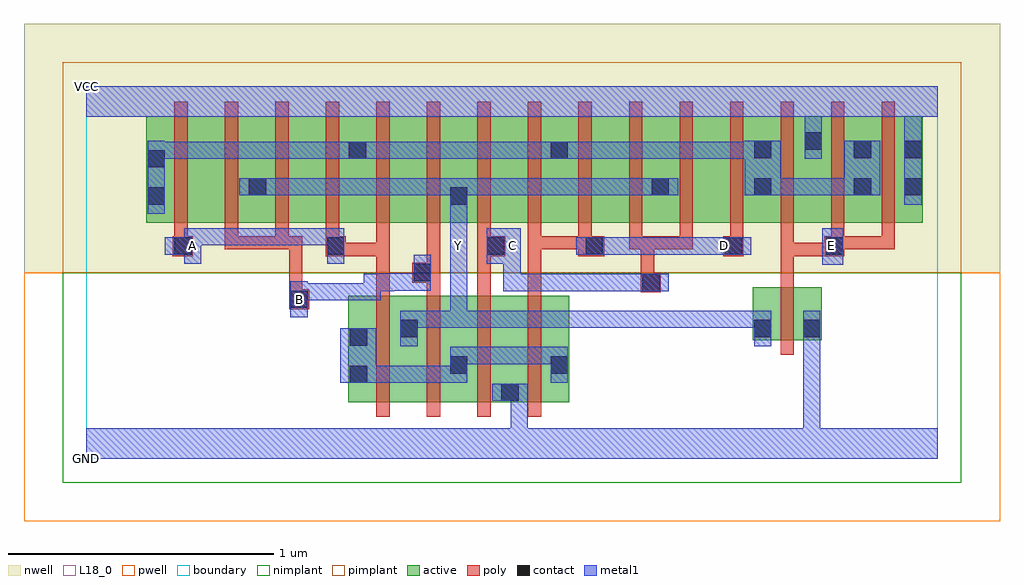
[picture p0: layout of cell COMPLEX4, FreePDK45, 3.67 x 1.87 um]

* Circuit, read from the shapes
.subckt COMPLEX4 A B C D E GND VCC Y
M1 Y A n1 VSUBS nfet w=0.4u l=0.05u
M2 n1 B Y VSUBS nfet w=0.4u l=0.05u
M3 GND C n1 VSUBS nfet w=0.4u l=0.05u
M4 n1 D GND VSUBS nfet w=0.4u l=0.05u
M5 GND E Y VSUBS nfet w=0.2u l=0.05u
M6 n2 A n3 n4 pfet w=0.4u l=0.05u
M7 Y B n2 n4 pfet w=0.4u l=0.05u
M8 n5 B Y n4 pfet w=0.4u l=0.05u
M9 n3 A n5 n4 pfet w=0.4u l=0.05u
M10 n6 A n3 n4 pfet w=0.4u l=0.05u
M11 Y B n6 n4 pfet w=0.4u l=0.05u
M12 n7 C Y n4 pfet w=0.4u l=0.05u
M13 n3 D n7 n4 pfet w=0.4u l=0.05u
M14 n8 D n3 n4 pfet w=0.4u l=0.05u
M15 Y C n8 n4 pfet w=0.4u l=0.05u
M16 n9 C Y n4 pfet w=0.4u l=0.05u
M17 n3 D n9 n4 pfet w=0.4u l=0.05u
M18 VCC E n3 n4 pfet w=0.4u l=0.05u m=3
.ends

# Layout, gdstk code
import gdstk
lib = gdstk.Library(unit=1e-6, precision=1e-09)
def R(c, l, rs):  # rectangles x0, y0, x1, y1
    for r in rs: c.add(gdstk.rectangle(r[:2], r[2:], *l))
def A(c, l, x, y, w, h, nx, ny, dx, dy):  # array of equal rectangles
    R(c, l, [(x+i*dx, y+j*dy, x+i*dx+w, y+j*dy+h) for i in range(nx) for j in range(ny)])
active = (1, 0)
pwell = (2, 0)
nwell = (3, 0)
nimplant = (4, 0)
pimplant = (5, 0)
poly = (9, 0)
contact = (10, 0)
metal1 = (11, 0)
L18_0 = (18, 0)
boundary = (235, 0)

complex4 = lib.new_cell('COMPLEX4')
R(complex4, active, [(0.985,0.212,1.25,0.612), (1.175,0.212,1.437,0.612), (1.362,0.212,1.63,0.612), (1.555,0.212,1.815,0.612), (1.555,0.212,1.63,0.447), (0.985,0.245,1.06,0.612), (1.175,0.245,1.25,0.527), (1.362,0.245,1.437,0.492), (1.74,0.245,1.815,0.492), (2.505,0.445,2.58,0.645), (2.505,0.445,2.765,0.645), (2.69,0.445,2.765,0.645), (0.225,0.887,0.3,1.2), (0.225,0.887,0.45,1.287), (0.45,0.887,0.68,1.287), (0.605,0.887,0.83,1.287), (0.83,0.887,1.057,1.287), (0.982,0.887,1.21,1.287), (1.21,0.887,1.437,1.287), (1.362,0.887,1.59,1.287), (1.59,0.887,1.815,1.287), (1.74,0.887,1.97,1.287), (1.97,0.887,2.195,1.287), (2.12,0.887,2.35,1.287), (2.35,0.887,2.58,1.287), (2.505,0.887,2.77,1.287), (2.695,0.887,2.955,1.287), (2.88,0.887,3.145,1.287), (3.07,0.887,3.145,1.2), (0.605,0.907,0.68,1.07), (0.982,0.907,1.057,1.2), (1.362,0.907,1.437,1.07), (1.74,0.907,1.815,1.2), (2.12,0.907,2.195,1.07), (2.505,0.907,2.58,1.2), (2.695,0.907,2.77,1.232), (2.88,0.907,2.955,1.2)])
R(complex4, pwell, [(-0.235,-0.235,3.435,0.7)])
R(complex4, nwell, [(-0.235,0.7,3.435,1.635)])
R(complex4, nimplant, [(-0.09,-0.09,3.29,0.7)])
R(complex4, pimplant, [(-0.09,0.7,3.29,1.49)])
A(complex4, poly, 1.09, 0.157, 0.05, 0.51, 4, 1, 0.19, 0)
A(complex4, poly, 0.33, 0.787, 0.05, 0.095, 4, 1, 0.19, 0)
A(complex4, poly, 0.52, 0.787, 0.24, 0.05, 3, 1, 1.14, 0)
A(complex4, poly, 1.47, 0.787, 0.05, 0.095, 6, 1, 0.19, 0)
A(complex4, poly, 0.33, 0.832, 0.05, 0.51, 15, 1, 0.19, 0)
R(complex4, poly, [(2.61,0.39,2.66,0.7), (0.762,0.562,0.837,0.637), (0.762,0.587,0.812,0.837), (1.09,0.617,1.14,0.812), (1.28,0.617,1.33,0.712), (1.47,0.617,1.52,0.812), (1.66,0.617,1.71,0.837), (2.085,0.625,2.16,0.7), (2.085,0.65,2.135,0.837), (2.61,0.65,2.66,0.812), (1.225,0.662,1.33,0.737), (1.28,0.687,1.33,0.737), (1.28,0.687,1.33,0.737), (1.28,0.687,1.33,0.882), (0.325,0.762,0.4,0.837), (0.9,0.762,0.975,0.837), (0.925,0.762,1.14,0.812), (1.09,0.762,1.14,0.812), (1.09,0.762,1.14,0.812), (1.09,0.762,1.14,0.812), (1.09,0.762,1.14,0.812), (1.09,0.762,1.14,0.812), (1.09,0.762,1.14,0.882), (1.47,0.762,1.575,0.837), (1.85,0.762,1.947,0.837), (2.395,0.762,2.47,0.837), (2.61,0.762,2.66,0.812), (2.61,0.762,2.66,0.812), (2.61,0.762,2.66,0.812), (2.61,0.762,2.825,0.812), (2.61,0.762,2.66,0.882), (2.775,0.762,2.825,0.812), (2.775,0.762,2.825,0.812), (2.775,0.762,2.85,0.837), (0.52,0.787,0.57,0.837), (0.71,0.787,0.76,0.837), (0.71,0.787,0.76,0.837), (0.71,0.787,0.812,0.837), (1.47,0.787,1.52,0.837), (1.47,0.787,1.52,0.837), (1.66,0.787,1.71,0.837), (1.66,0.787,1.71,0.837), (1.66,0.787,1.71,0.837), (1.85,0.787,1.9,0.837), (1.85,0.787,1.9,0.837), (2.04,0.787,2.135,0.837), (2.085,0.787,2.28,0.837), (2.23,0.787,2.28,0.837), (2.23,0.787,2.28,0.837), (2.23,0.787,2.28,0.837), (2.8,0.787,2.85,0.882), (2.99,0.787,3.04,0.882), (2.99,0.787,3.04,0.837), (2.99,0.787,3.04,0.837), (2.99,0.787,3.04,0.837)])
R(complex4, contact, [(1.56,0.217,1.625,0.282), (0.99,0.285,1.055,0.35), (1.367,0.32,1.432,0.385), (1.745,0.32,1.81,0.385), (0.99,0.425,1.055,0.49), (1.18,0.457,1.245,0.522), (2.51,0.457,2.575,0.522), (2.695,0.457,2.76,0.522), (0.767,0.567,0.832,0.632), (2.09,0.63,2.155,0.695), (1.23,0.667,1.295,0.732), (0.33,0.767,0.395,0.832), (0.905,0.767,0.97,0.832), (1.505,0.767,1.57,0.832), (1.877,0.767,1.942,0.832), (2.4,0.767,2.465,0.832), (2.78,0.767,2.845,0.832), (0.23,0.955,0.295,1.02), (1.367,0.955,1.432,1.02), (0.61,0.99,0.675,1.055), (2.125,0.99,2.19,1.055), (2.51,0.99,2.575,1.055), (2.885,0.99,2.95,1.055), (3.075,0.99,3.14,1.055), (0.23,1.095,0.295,1.16), (0.987,1.127,1.052,1.192), (1.745,1.127,1.81,1.192), (2.51,1.13,2.575,1.195), (2.885,1.13,2.95,1.195), (3.075,1.13,3.14,1.195), (2.7,1.162,2.765,1.227)])
R(complex4, metal1, [(0,0,3.2,0.115), (1.595,0.05,1.66,0.282), (2.695,0.05,2.76,0.487), (1.525,0.217,1.66,0.282), (0.955,0.285,1.09,0.49), (1.025,0.285,1.157,0.35), (1.092,0.285,1.157,0.35), (1.092,0.285,1.295,0.35), (1.23,0.285,1.295,0.35), (1.23,0.285,1.432,0.35), (1.367,0.285,1.432,0.35), (1.367,0.285,1.432,0.35), (1.367,0.285,1.432,0.42), (1.745,0.285,1.81,0.42), (1.367,0.355,1.57,0.42), (1.505,0.355,1.57,0.42), (1.505,0.355,1.57,0.42), (1.505,0.355,1.57,0.42), (1.505,0.355,1.77,0.42), (1.705,0.355,1.77,0.42), (1.705,0.355,1.81,0.42), (1.18,0.422,1.245,0.557), (2.51,0.422,2.575,0.557), (2.695,0.422,2.76,0.487), (2.695,0.422,2.76,0.487), (2.695,0.422,2.76,0.487), (2.695,0.422,2.76,0.487), (2.695,0.422,2.76,0.557), (1.18,0.492,1.432,0.557), (1.367,0.492,1.432,0.557), (1.367,0.492,1.432,0.557), (1.367,0.492,1.432,0.557), (1.367,0.492,1.57,0.557), (1.367,0.492,1.432,0.797), (1.505,0.492,1.57,0.557), (1.505,0.492,1.57,0.557), (1.505,0.492,1.57,0.557), (1.505,0.492,1.77,0.557), (1.705,0.492,1.77,0.557), (1.705,0.492,1.77,0.557), (1.705,0.492,1.77,0.557), (1.705,0.492,1.982,0.557), (1.917,0.492,1.982,0.557), (1.917,0.492,1.982,0.557), (1.917,0.492,1.982,0.557), (1.917,0.492,2.12,0.557), (2.055,0.492,2.12,0.557), (2.055,0.492,2.12,0.557), (2.055,0.492,2.12,0.557), (2.055,0.492,2.26,0.557), (2.195,0.492,2.26,0.557), (2.195,0.492,2.26,0.557), (2.195,0.492,2.26,0.557), (2.195,0.492,2.557,0.557), (2.492,0.492,2.557,0.557), (2.492,0.492,2.575,0.557), (0.767,0.532,0.832,0.667), (0.767,0.595,0.847,0.66), (0.782,0.595,0.847,0.66), (0.782,0.595,1.02,0.66), (0.955,0.595,1.02,0.66), (0.955,0.595,1.107,0.66), (1.042,0.595,1.107,0.695), (1.042,0.63,1.157,0.695), (1.092,0.63,1.157,0.697), (1.567,0.63,1.77,0.695), (1.567,0.63,1.632,0.797), (1.705,0.63,1.77,0.695), (1.705,0.63,1.845,0.695), (1.78,0.63,1.845,0.695), (1.78,0.63,1.982,0.695), (1.917,0.63,1.982,0.695), (1.917,0.63,1.982,0.695), (1.917,0.63,1.982,0.695), (1.917,0.63,2.12,0.695), (2.055,0.63,2.19,0.695), (1.092,0.632,1.295,0.697), (1.23,0.632,1.295,0.697), (1.23,0.632,1.295,0.697), (1.23,0.632,1.295,0.767), (2.767,0.73,2.845,0.867), (0.367,0.732,0.432,0.867), (0.905,0.732,0.97,0.867), (1.367,0.732,1.432,0.867), (1.505,0.732,1.632,0.867), (1.567,0.732,1.632,0.797), (0.295,0.767,0.43,0.832), (0.365,0.767,0.432,0.832), (1.842,0.767,1.977,0.832), (1.912,0.767,1.982,0.832), (1.917,0.767,1.982,0.832), (1.917,0.767,2.12,0.832), (2.055,0.767,2.12,0.832), (2.055,0.767,2.12,0.832), (2.055,0.767,2.12,0.832), (2.055,0.767,2.26,0.832), (2.195,0.767,2.26,0.832), (2.195,0.767,2.397,0.832), (2.332,0.767,2.397,0.832), (2.332,0.767,2.397,0.832), (2.332,0.767,2.5,0.832), (0.367,0.802,0.57,0.867), (0.505,0.802,0.57,0.867), (0.505,0.802,0.57,0.867), (0.505,0.802,0.57,0.867), (0.505,0.802,0.71,0.867), (0.645,0.802,0.71,0.867), (0.645,0.802,0.88,0.867), (0.815,0.802,0.88,0.867), (0.815,0.802,0.97,0.867), (1.367,0.802,1.432,0.985), (0.23,0.92,0.295,1.195), (1.367,0.92,1.432,0.985), (1.367,0.92,1.432,0.985), (1.367,0.92,1.432,1.055), (3.075,0.955,3.14,1.23), (0.575,0.99,0.71,1.055), (0.645,0.99,0.71,1.055), (0.645,0.99,0.71,1.055), (0.645,0.99,0.88,1.055), (0.815,0.99,0.88,1.055), (0.815,0.99,1.02,1.055), (0.955,0.99,1.02,1.055), (0.955,0.99,1.02,1.055), (0.955,0.99,1.02,1.055), (0.955,0.99,1.157,1.055), (1.092,0.99,1.157,1.055), (1.092,0.99,1.295,1.055), (1.23,0.99,1.295,1.055), (1.23,0.99,1.432,1.055), (1.367,0.99,1.432,1.055), (1.367,0.99,1.432,1.055), (1.367,0.99,1.57,1.055), (1.505,0.99,1.57,1.055), (1.505,0.99,1.632,1.055), (1.567,0.99,1.632,1.055), (1.567,0.99,1.77,1.055), (1.705,0.99,1.77,1.055), (1.705,0.99,1.77,1.055), (1.705,0.99,1.77,1.055), (1.705,0.99,1.982,1.055), (1.917,0.99,1.982,1.055), (1.917,0.99,1.982,1.055), (1.917,0.99,1.982,1.055), (1.917,0.99,2.12,1.055), (2.055,0.99,2.12,1.055), (2.055,0.99,2.155,1.055), (2.09,0.99,2.225,1.055), (2.475,0.99,2.61,1.195), (2.545,0.99,2.695,1.055), (2.63,0.99,2.695,1.055), (2.63,0.99,2.777,1.055), (2.712,0.99,2.777,1.055), (2.712,0.99,2.915,1.055), (2.85,0.99,2.915,1.055), (2.85,0.99,2.915,1.055), (2.85,0.99,2.985,1.195), (0.23,1.127,0.295,1.192), (0.23,1.127,0.295,1.192), (0.23,1.127,0.432,1.192), (0.367,1.127,0.432,1.192), (0.367,1.127,0.432,1.192), (0.367,1.127,0.432,1.192), (0.367,1.127,0.572,1.192), (0.507,1.127,0.572,1.192), (0.507,1.127,0.572,1.192), (0.507,1.127,0.572,1.192), (0.507,1.127,0.832,1.192), (0.767,1.127,0.832,1.192), (0.767,1.127,0.847,1.192), (0.782,1.127,0.847,1.192), (0.782,1.127,1.017,1.192), (0.952,1.127,1.017,1.192), (0.952,1.127,1.017,1.192), (0.952,1.127,1.087,1.192), (1.022,1.127,1.157,1.192), (1.092,1.127,1.157,1.192), (1.092,1.127,1.295,1.192), (1.23,1.127,1.295,1.192), (1.23,1.127,1.432,1.192), (1.367,1.127,1.432,1.192), (1.367,1.127,1.432,1.192), (1.367,1.127,1.432,1.192), (1.367,1.127,1.57,1.192), (1.505,1.127,1.57,1.192), (1.505,1.127,1.57,1.192), (1.505,1.127,1.57,1.192), (1.505,1.127,1.77,1.192), (1.705,1.127,1.77,1.192), (1.705,1.127,1.775,1.192), (1.71,1.127,1.845,1.192), (1.78,1.127,1.982,1.192), (1.917,1.127,1.982,1.192), (1.917,1.127,1.982,1.192), (1.917,1.127,1.982,1.192), (1.917,1.127,2.12,1.192), (2.055,1.127,2.12,1.192), (2.055,1.127,2.12,1.192), (2.055,1.127,2.12,1.192), (2.055,1.127,2.257,1.192), (2.192,1.127,2.257,1.192), (2.192,1.127,2.402,1.192), (2.337,1.127,2.402,1.192), (2.337,1.127,2.402,1.192), (2.337,1.127,2.402,1.192), (2.337,1.127,2.54,1.192), (2.475,1.127,2.54,1.192), (2.475,1.127,2.54,1.192), (2.7,1.127,2.765,1.262), (3.075,1.165,3.14,1.35), (2.7,1.197,2.765,1.35), (0,1.285,3.2,1.4)])
R(complex4, L18_0, [(0,0,3.2,0.115), (1.595,0.05,1.66,0.282), (2.695,0.05,2.76,0.487), (1.525,0.217,1.66,0.282), (1.18,0.422,1.245,0.557), (2.51,0.422,2.575,0.557), (2.695,0.422,2.76,0.557), (2.695,0.422,2.76,0.487), (2.695,0.422,2.76,0.487), (2.695,0.422,2.76,0.487), (2.695,0.422,2.76,0.487), (1.18,0.492,1.432,0.557), (1.367,0.492,1.432,0.557), (1.367,0.492,1.432,0.557), (1.367,0.492,1.432,0.557), (1.367,0.492,1.57,0.557), (1.367,0.492,1.432,0.797), (1.505,0.492,1.57,0.557), (1.505,0.492,1.57,0.557), (1.505,0.492,1.57,0.557), (1.505,0.492,1.77,0.557), (1.705,0.492,1.77,0.557), (1.705,0.492,1.77,0.557), (1.705,0.492,1.77,0.557), (1.705,0.492,1.982,0.557), (1.917,0.492,1.982,0.557), (1.917,0.492,1.982,0.557), (1.917,0.492,1.982,0.557), (1.917,0.492,2.12,0.557), (2.055,0.492,2.12,0.557), (2.055,0.492,2.12,0.557), (2.055,0.492,2.12,0.557), (2.055,0.492,2.26,0.557), (2.195,0.492,2.26,0.557), (2.195,0.492,2.26,0.557), (2.195,0.492,2.26,0.557), (2.195,0.492,2.557,0.557), (2.492,0.492,2.557,0.557), (2.492,0.492,2.575,0.557), (0.767,0.532,0.832,0.667), (0.767,0.567,0.832,0.632), (0.767,0.595,0.847,0.66), (0.782,0.595,0.847,0.66), (0.782,0.595,1.02,0.66), (0.955,0.595,1.02,0.66), (0.955,0.595,1.107,0.66), (1.042,0.595,1.107,0.695), (1.042,0.63,1.157,0.695), (1.092,0.63,1.157,0.697), (1.567,0.63,1.77,0.695), (1.567,0.63,1.632,0.797), (1.705,0.63,1.77,0.695), (1.705,0.63,1.845,0.695), (1.78,0.63,1.845,0.695), (1.78,0.63,1.982,0.695), (1.917,0.63,1.982,0.695), (1.917,0.63,1.982,0.695), (1.917,0.63,1.982,0.695), (1.917,0.63,2.12,0.695), (2.055,0.63,2.19,0.695), (1.092,0.632,1.295,0.697), (1.23,0.632,1.295,0.767), (1.23,0.632,1.295,0.697), (1.23,0.632,1.295,0.697), (2.767,0.73,2.845,0.867), (0.367,0.732,0.432,0.867), (0.905,0.732,0.97,0.867), (1.367,0.732,1.432,0.867), (1.505,0.732,1.632,0.867), (1.567,0.732,1.632,0.797), (0.295,0.767,0.43,0.832), (0.365,0.767,0.432,0.832), (0.367,0.767,0.432,0.832), (1.367,0.767,1.432,0.832), (1.567,0.767,1.632,0.832), (1.842,0.767,1.977,0.832), (1.912,0.767,1.982,0.832), (1.917,0.767,1.982,0.832), (1.917,0.767,2.12,0.832), (2.055,0.767,2.12,0.832), (2.055,0.767,2.12,0.832), (2.055,0.767,2.12,0.832), (2.055,0.767,2.26,0.832), (2.195,0.767,2.26,0.832), (2.195,0.767,2.397,0.832), (2.332,0.767,2.397,0.832), (2.332,0.767,2.397,0.832), (2.332,0.767,2.5,0.832), (2.367,0.767,2.432,0.832), (2.767,0.767,2.832,0.832), (0.367,0.802,0.57,0.867), (0.505,0.802,0.57,0.867), (0.505,0.802,0.57,0.867), (0.505,0.802,0.57,0.867), (0.505,0.802,0.71,0.867), (0.645,0.802,0.71,0.867), (0.645,0.802,0.88,0.867), (0.815,0.802,0.88,0.867), (0.815,0.802,0.97,0.867), (1.367,0.802,1.432,0.985), (1.367,0.92,1.432,1.055), (1.367,0.92,1.432,0.985), (1.367,0.92,1.432,0.985), (3.075,0.955,3.14,1.23), (0.575,0.99,0.71,1.055), (0.645,0.99,0.71,1.055), (0.645,0.99,0.71,1.055), (0.645,0.99,0.88,1.055), (0.815,0.99,0.88,1.055), (0.815,0.99,1.02,1.055), (0.955,0.99,1.02,1.055), (0.955,0.99,1.02,1.055), (0.955,0.99,1.02,1.055), (0.955,0.99,1.157,1.055), (1.092,0.99,1.157,1.055), (1.092,0.99,1.295,1.055), (1.23,0.99,1.295,1.055), (1.23,0.99,1.432,1.055), (1.367,0.99,1.432,1.055), (1.367,0.99,1.432,1.055), (1.367,0.99,1.57,1.055), (1.505,0.99,1.57,1.055), (1.505,0.99,1.632,1.055), (1.567,0.99,1.632,1.055), (1.567,0.99,1.77,1.055), (1.705,0.99,1.77,1.055), (1.705,0.99,1.77,1.055), (1.705,0.99,1.77,1.055), (1.705,0.99,1.982,1.055), (1.917,0.99,1.982,1.055), (1.917,0.99,1.982,1.055), (1.917,0.99,1.982,1.055), (1.917,0.99,2.12,1.055), (2.055,0.99,2.12,1.055), (2.055,0.99,2.155,1.055), (2.09,0.99,2.225,1.055), (2.7,1.127,2.765,1.262), (3.075,1.165,3.14,1.35), (2.7,1.197,2.765,1.35), (0,1.285,3.2,1.4)])
R(complex4, boundary, [(0,0,3.2,1.4)])
complex4.add(gdstk.Label('A', (0.4,0.8), layer=11, texttype=0))
complex4.add(gdstk.Label('B', (0.8,0.6), layer=11, texttype=0))
complex4.add(gdstk.Label('C', (1.6,0.8), layer=11, texttype=0))
complex4.add(gdstk.Label('D', (2.4,0.8), layer=11, texttype=0))
complex4.add(gdstk.Label('E', (2.8,0.8), layer=11, texttype=0))
complex4.add(gdstk.Label('Y', (1.4,0.8), layer=11, texttype=0))
complex4.add(gdstk.Label('VCC', (0,1.4), layer=11, texttype=0))
complex4.add(gdstk.Label('GND', (0,0), layer=11, texttype=0))

lib.write_gds('COMPLEX4.gds')
